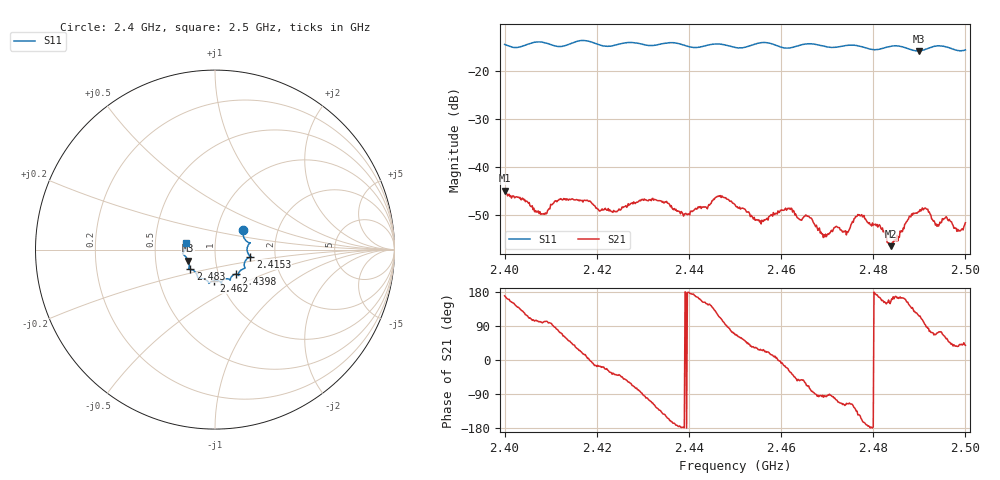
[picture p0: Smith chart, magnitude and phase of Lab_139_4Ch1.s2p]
# Hz S RI R
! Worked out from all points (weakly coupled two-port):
!   601 points, 2.4 GHz to 2.5 GHz, reference 50 ohm
!   highest |S21| = -44.97 dB at 2.4 GHz (marker M1); lowest = -56.5 dB at 2.4838 GHz (marker M2)
!   lowest |S11| = -15.9 dB at 2.4898 GHz (marker M3), VSWR 1.38, Z = 36.8 - j4.61 ohm
!   |S11| at or under -10 dB: start of sweep to end of sweep
!   S12 and S22 are empty: the file has one direction only
!   S11 on the Smith chart (normalised r, x): 2.4 GHz: 1.33, +0.29; 2.4153 GHz: 1.48, -0.12; 2.4398 GHz: 1.21, -0.34; 2.462 GHz: 0.93, -0.33; 2.483 GHz: 0.74, -0.17; 2.5 GHz: 0.72, +0.06
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2.4e9  0.1552 0.1065  -0.00554 0.00104  0 0  0 0
2.408333e9  0.1944 0.0366  -0.000518 0.00318  0 0  0 0
2.415333e9  0.1964 -0.0385  0.00371 0.00256  0 0  0 0
2.416667e9  0.2022 -0.0427  0.00415 0.00161  0 0  0 0
2.423833e9  0.1626 -0.0856  0.0027 -0.00213  0 0  0 0
2.433333e9  0.1312 -0.1336  -0.0028 -0.00345  0 0  0 0
2.439833e9  0.1153 -0.1367  -0.00323 5.93e-05  0 0  0 0
2.446333e9  0.0846 -0.1703  -0.00234 0.00431  0 0  0 0
2.45e9  0.0645 -0.1626  0.00159 0.00371  0 0  0 0
2.455667e9  0.0375 -0.1924  0.00228 0.00112  0 0  0 0
2.462e9  -0.00503 -0.1731  0.00303 -0.00193  0 0  0 0
2.466667e9  -0.0342 -0.1875  0.000353 -0.00285  0 0  0 0
2.469667e9  -0.0448 -0.1725  -0.000175 -0.00198  0 0  0 0
2.474333e9  -0.0893 -0.1606  -0.000907 -0.0019  0 0  0 0
2.4775e9  -0.0974 -0.1492  -0.00292 -0.00125  0 0  0 0
2.483e9  -0.1379 -0.1096  -0.00143 0.000803  0 0  0 0
2.483333e9  -0.1404 -0.1094  -0.00151 0.000598  0 0  0 0
2.483833e9  -0.1433 -0.1091  -0.00135 0.000629  0 0  0 0
2.489833e9  -0.1488 -0.061  -0.00159 0.00303  0 0  0 0
2.491667e9  -0.165 -0.0378  0.000167 0.0036  0 0  0 0
2.493833e9  -0.18 -0.0233  0.000765 0.00227  0 0  0 0
2.5e9  -0.1598 0.0393  0.00204 0.00164  0 0  0 0
